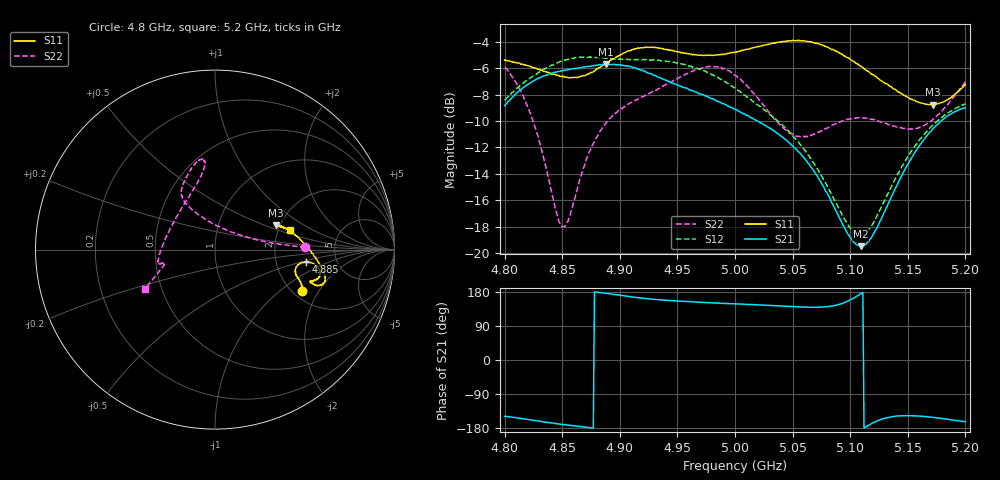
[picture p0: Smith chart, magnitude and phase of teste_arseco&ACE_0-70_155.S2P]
! Network Analyzer HP8722D
! Hewlett-Packard
! Data name: Linha & Wilkinson
! Saver's name: Rodrigo Anjos
! Comments: Teste da utilização de aquisição
! continua pelo VNA HP8722D
! Time and date: 8/5/2025 14:03
!  Frequency  S11  S21  S12  S22
# HZ  S  MA R 50
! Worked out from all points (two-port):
!   401 points, 4.8 GHz to 5.2 GHz, reference 50 ohm
!   highest |S21| = -5.69 dB at 4.888 GHz (marker M1); lowest = -19.5 dB at 5.109 GHz (marker M2)
!   |S21| within 3 dB of the highest: 4.802 GHz to 4.99 GHz (188.5 MHz wide, 3.85 % of centre)
!   lowest |S11| = -8.8 dB at 5.172 GHz (marker M3), VSWR 2.15, Z = 95 + j29.8 ohm
!   |S11| at or under -10 dB: nowhere
!   |S22| runs from -18.0 to -5.9 dB; largest |S21 - S12| = 1.1
!   S11 on the Smith chart (normalised r, x): 4.8 GHz: 2.24, -1.45; 4.885 GHz: 2.98, -0.56; 5.2 GHz: 2.33, +0.64
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4.8e9  0.5378 -25.4  0.3614 -148.5  0.3793 10.9  0.504 1.4
4.812e9  0.5247 -22.4  0.4089 -153.3  0.4249 9.2  0.426 2.7
4.823e9  0.5075 -20.5  0.4435 -158.3  0.4623 7.6  0.3313 6.0
4.849e9  0.4659 -16.2  0.4896 -169.6  0.5314 3.5  0.1266 57.4
4.855e9  0.4617 -14.4  0.4946 -171.9  0.542 2.5  0.1316 84.1
4.867e9  0.4674 -11.0  0.5035 -176.0  0.55 0.8  0.2004 112.7
4.885e9  0.5112 -7.8  0.5173 177.3  0.5493 -0.5  0.2986 121.8
4.888e9  0.5236 -7.6  0.5192 175.7  0.5473 -0.6  0.31 122.3
4.912e9  0.5905 -10.6  0.5026 165.9  0.5381 -0.2  0.3733 120.0
4.934e9  0.5971 -15.3  0.4612 159.0  0.538 -1.1  0.4187 113.6
4.975e9  0.5602 -18.4  0.393 151.6  0.4867 -4.8  0.5059 100.0
5e9  0.5758 -19.3  0.349 148.0  0.4227 -5.0  0.4714 97.1
5.018e9  0.6021 -19.3  0.3183 146.0  0.3679 -2.2  0.3944 103.7
5.045e9  0.6334 -17.3  0.2663 141.6  0.2931 3.4  0.2888 132.9
5.067e9  0.6289 -13.2  0.2088 139.1  0.2237 9.5  0.2807 164.6
5.099e9  0.5462 -2.5  0.1162 156.9  0.126 38.3  0.3215 -170.0
5.109e9  0.5095 2.3  0.1061 174.7  0.1166 57.9  0.3251 -167.2
5.118e9  0.4775 6.6  0.1136 -168.6  0.1257 75.7  0.3203 -165.8
5.134e9  0.4283 14.3  0.1569 -150.9  0.1719 94.8  0.3053 -165.6
5.156e9  0.3786 21.4  0.24 -147.4  0.2532 102.1  0.2966 -163.6
5.172e9  0.3645 21.9  0.2959 -151.4  0.3056 102.9  0.3212 -159.8
5.2e9  0.4351 14.8  0.3546 -163.1  0.3676 103.3  0.4455 -150.4
